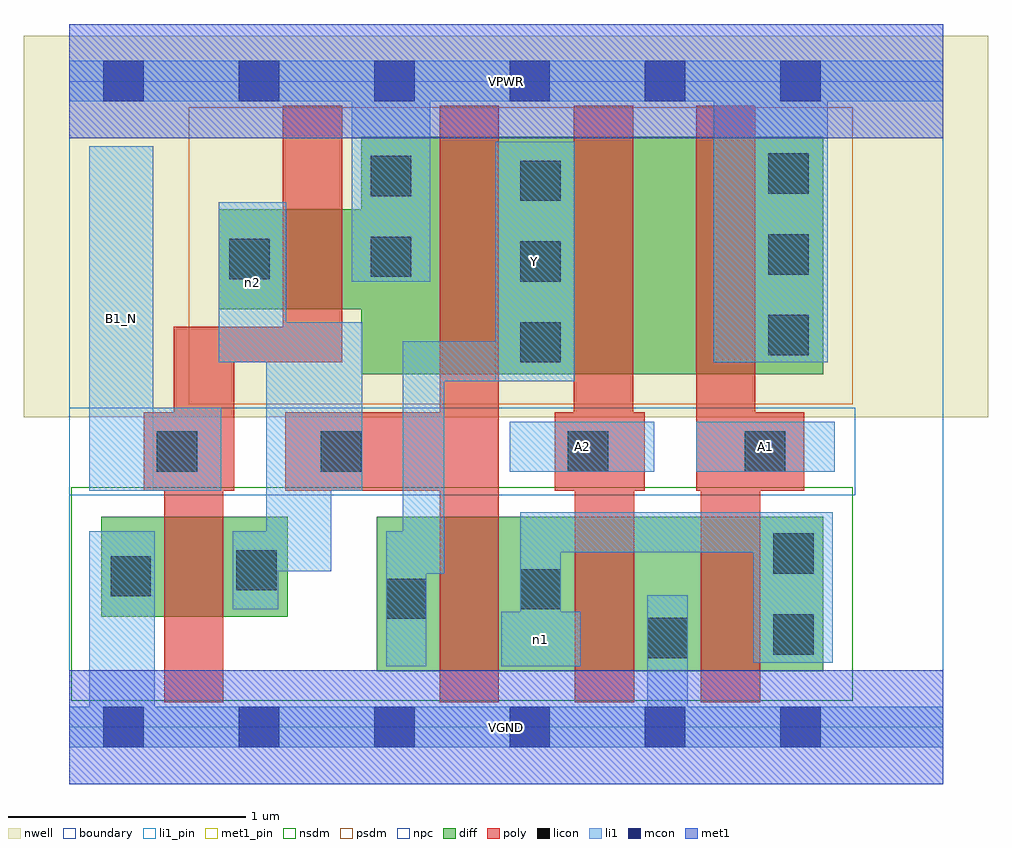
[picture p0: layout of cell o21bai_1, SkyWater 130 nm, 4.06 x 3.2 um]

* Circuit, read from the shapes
.subckt o21bai_1 A1 A2 B1_N VGND VPWR Y n1 n2
XM1 n2 B1_N VGND VSUBS sky130_fd_pr__nfet_01v8 w=0.42 l=0.25
XM2 n1 n2 Y VSUBS sky130_fd_pr__nfet_01v8 w=0.65 l=0.25
XM3 VGND A2 n1 VSUBS sky130_fd_pr__nfet_01v8 w=0.65 l=0.25
XM4 n1 A1 VGND VSUBS sky130_fd_pr__nfet_01v8 w=0.65 l=0.25
XM5 VPWR B1_N n2 n3 sky130_fd_pr__pfet_01v8 w=0.42 l=0.25
XM6 Y n2 VPWR n3 sky130_fd_pr__pfet_01v8 w=1 l=0.25
XM7 n4 A2 Y n3 sky130_fd_pr__pfet_01v8 w=1 l=0.25
XM8 VPWR A1 n4 n3 sky130_fd_pr__pfet_01v8 w=1 l=0.25
.ends

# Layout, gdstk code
import gdstk
lib = gdstk.Library(unit=1e-6, precision=1e-09)
def R(c, l, rs):  # rectangles x0, y0, x1, y1
    for r in rs: c.add(gdstk.rectangle(r[:2], r[2:], *l))
def A(c, l, x, y, w, h, nx, ny, dx, dy):  # array of equal rectangles
    R(c, l, [(x+i*dx, y+j*dy, x+i*dx+w, y+j*dy+h) for i in range(nx) for j in range(ny)])
nwell = (64, 20)
diff = (65, 20)
poly = (66, 20)
licon = (66, 44)
li1_pin = (67, 16)
li1 = (67, 20)
mcon = (67, 44)
met1_pin = (68, 16)
met1 = (68, 20)
nsdm = (93, 44)
psdm = (94, 20)
npc = (95, 20)
boundary = (235, 4)

o21bai_1 = lib.new_cell('o21bai_1')
R(o21bai_1, nwell, [(-0.19,1.305,3.87,2.91), (0,1.305,3.68,2.91)])
R(o21bai_1, diff, [(1.295,0.235,3.175,0.885), (0.135,0.465,0.92,0.885), (1.23,1.485,3.175,2.485), (0.63,1.76,3.175,2.18)])
R(o21bai_1, poly, [(0.4,0.105,0.65,1.325), (1.56,0.105,1.81,2.615), (2.13,0.105,2.38,1.325), (2.66,0.105,2.91,1.325), (0.315,0.995,0.695,1.325), (0.44,0.995,0.695,1.685), (0.91,0.995,1.81,1.325), (2.045,0.995,2.425,1.325), (2.125,0.995,2.375,2.615), (2.64,0.995,2.89,2.615), (2.64,0.995,3.095,1.325), (0.44,1.535,1.15,1.685), (0.9,1.535,1.15,2.615)])
A(o21bai_1, licon, 1.9, 1.535, 0.17, 0.17, 1, 3, 0, 0.34)
A(o21bai_1, licon, 2.945, 1.565, 0.17, 0.17, 1, 3, 0, 0.34)
R(o21bai_1, licon, [(2.435,0.29,2.605,0.46), (2.965,0.305,3.135,0.475), (1.335,0.455,1.505,0.625), (1.9,0.495,2.07,0.665), (0.175,0.55,0.345,0.72), (0.705,0.575,0.875,0.745), (2.965,0.645,3.135,0.815), (0.37,1.075,0.54,1.245), (1.06,1.075,1.23,1.245), (2.1,1.075,2.27,1.245), (2.845,1.075,3.015,1.245), (0.675,1.885,0.845,2.055), (1.27,1.895,1.44,2.065), (1.27,2.235,1.44,2.405)])
R(o21bai_1, li1_pin, [(0.085,0.995,0.355,2.445), (1.855,1.075,2.465,1.285), (2.64,1.075,3.225,1.285), (1.795,1.455,2.13,2.465)])
R(o21bai_1, li1, [(0,-0.085,3.68,0.085), (0.085,-0.085,0.36,0.825), (2.435,-0.085,2.605,0.555), (1.335,0.255,1.505,0.825), (1.82,0.255,2.155,0.485), (1.9,0.255,2.07,0.905), (2.88,0.27,3.215,0.905), (0.69,0.495,0.88,0.825), (1.405,0.645,1.58,1.625), (0.83,0.655,1.105,1.705), (1.9,0.735,3.215,0.905), (0.085,0.995,0.355,2.445), (0.085,0.995,0.64,1.345), (1.105,0.995,1.235,1.705), (1.855,1.075,2.465,1.285), (2.64,1.075,3.225,1.285), (1.405,1.455,2.13,1.625), (1.795,1.455,2.13,2.465), (0.63,1.535,0.915,2.21), (2.715,1.535,3.195,2.805), (1.19,1.875,1.52,2.805), (0,2.635,3.68,2.805)])
A(o21bai_1, mcon, 0.145, -0.085, 0.17, 0.17, 6, 2, 0.57, 2.72)
R(o21bai_1, met1_pin, [(0,-0.24,3.68,0.24), (0,2.48,3.68,2.96)])
R(o21bai_1, met1, [(0,-0.24,3.68,0.24), (0,2.48,3.68,2.96)])
R(o21bai_1, nsdm, [(0.01,0.11,3.3,1.01)])
R(o21bai_1, psdm, [(0.505,1.36,3.3,2.61)])
R(o21bai_1, npc, [(0,0.975,3.31,1.345)])
R(o21bai_1, boundary, [(0,0,3.68,2.72)])
o21bai_1.add(gdstk.Label('A1', (2.932,1.18), layer=67, texttype=5))
o21bai_1.add(gdstk.Label('A2', (2.16,1.18), layer=67, texttype=5))
o21bai_1.add(gdstk.Label('B1_N', (0.22,1.72), layer=67, texttype=5))
o21bai_1.add(gdstk.Label('Y', (1.962,1.96), layer=67, texttype=5))
o21bai_1.add(gdstk.Label('n1', (1.987,0.37), layer=67, texttype=5))
o21bai_1.add(gdstk.Label('n2', (0.772,1.872), layer=67, texttype=5))
o21bai_1.add(gdstk.Label('VPWR', (1.84,2.72), layer=68, texttype=5))
o21bai_1.add(gdstk.Label('VGND', (1.84,0), layer=68, texttype=5))
o21bai_1.add(gdstk.Label('A1', (2.932,1.18), layer=67, texttype=16))
o21bai_1.add(gdstk.Label('A2', (2.16,1.18), layer=67, texttype=16))
o21bai_1.add(gdstk.Label('B1_N', (0.22,1.72), layer=67, texttype=16))
o21bai_1.add(gdstk.Label('Y', (1.962,1.96), layer=67, texttype=16))
o21bai_1.add(gdstk.Label('VPWR', (1.84,2.72), layer=68, texttype=16))
o21bai_1.add(gdstk.Label('VGND', (1.84,0), layer=68, texttype=16))

lib.write_gds('o21bai_1.gds')
